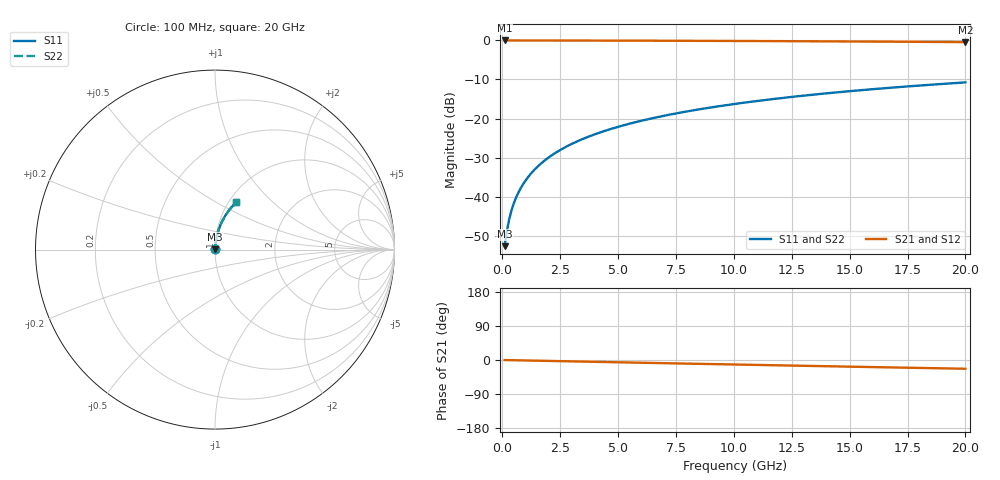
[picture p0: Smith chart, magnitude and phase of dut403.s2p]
! Touchstone file exported from HFSS 2026.1.0
!  File:  C:/ffzhzh/LocalFiles/Ansys_Project_Files/temp_train_BSMRDL_403_1783012391_55676.aedt
!  Generated:  01:14:43 AM Jul  3, 2026
!  Design:  BSMRDL
!  Project:  temp_train_BSMRDL_403_1783012391_55676
! Variables:
!  h_bsmrdl = 3.85um
!  h_ox = 20um
!  h_rdl = 5um
!  h_sub = 80um
!  h_tmrdl = 5um
!  h_tsv = 80um
!  h_via = 3um
!  l_bsmrdl = 241.85um
!  l_sub = 641.85um
!  l_tmrdl = 200um
!  m_sub = 200um
!  pitch = 58.88um
!  r_tsv = 6um
!  s_tmrdl = 10um
!  w_bsmrdl = 14.87um
!  w_sub = 500um
!  w_tmrdl = 12um
!  x_tsv_center1 = 206um
!  x_tsv_center2 = 462.72um
!  x_tsv_center3 = 674.72um
!  x_tsv_center4 = 931.44um
!  x_tsv_center5 = 1143.44um
!  x_tsv_center6 = 1400.16um
# GHz S MA R 50.000000
! Terminal data exported
! Port[1] = BSM_RDL1_1_T1
! Port[2] = BSM_RDL1_1_T2
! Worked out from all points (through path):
!   200 points, 100 MHz to 20 GHz, reference 50 ohm
!   highest |S21| = -0.01 dB at 100 MHz (marker M1); lowest = -0.4 dB at 20 GHz (marker M2)
!   group delay of S21, straight-line fit = 3.21 ps
!   lowest |S11| = -52.7 dB at 100 MHz (marker M3), VSWR 1.00, Z = 50.2 + j0.164 ohm
!   |S11| at or under -10 dB: start of sweep to end of sweep
!   |S22| runs from -52.7 to -10.8 dB; largest |S21 - S12| = 2.3e-15
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0.1  0.002322 44.8  0.9984 -0.1  0.9984 -0.1  0.002322 44.8
! Gamma 0 0 0 0
! Port Impedance 50 0 50 0
0.2  0.003671 62.6  0.9983 -0.2  0.9983 -0.2  0.003671 62.6
0.3  0.005168 70.2  0.9983 -0.4  0.9983 -0.4  0.005168 70.2
0.4  0.006702 74.3  0.9982 -0.5  0.9982 -0.5  0.006702 74.3
0.5  0.008247 76.8  0.9982 -0.6  0.9982 -0.6  0.008247 76.8
0.7  0.01135 79.7  0.9981 -0.9  0.9981 -0.9  0.01135 79.7
0.8  0.01291 80.7  0.998 -1.0  0.998 -1.0  0.01291 80.7
1  0.01603 81.9  0.998 -1.2  0.998 -1.2  0.01603 81.9
1.2  0.01916 82.7  0.9979 -1.5  0.9979 -1.5  0.01916 82.7
1.4  0.02229 83.2  0.9978 -1.7  0.9978 -1.7  0.02229 83.2
1.7  0.02699 83.6  0.9976 -2.1  0.9976 -2.1  0.02699 83.6
2  0.03169 83.8  0.9974 -2.4  0.9974 -2.4  0.03169 83.8
2.7  0.04264 83.7  0.9969 -3.3  0.9969 -3.3  0.04264 83.7
3.5  0.05511 83.2  0.9961 -4.2  0.9961 -4.2  0.05511 83.2
4.2  0.06596 82.6  0.9952 -5.1  0.9952 -5.1  0.06596 82.6
5  0.07828 81.9  0.9941 -6.0  0.9941 -6.0  0.07828 81.9
6.8  0.1057 80.0  0.991 -8.2  0.991 -8.2  0.1057 80.0
8.3  0.1281 78.4  0.9879 -9.9  0.9879 -9.9  0.1281 78.4
10.1  0.1546 76.4  0.9837 -12.0  0.9837 -12.0  0.1546 76.4
13.4  0.2017 72.8  0.9744 -15.8  0.9744 -15.8  0.2017 72.8
16.7  0.2469 69.2  0.9634 -19.5  0.9634 -19.5  0.2469 69.2
20  0.29 65.7  0.951 -23.1  0.951 -23.1  0.29 65.7
